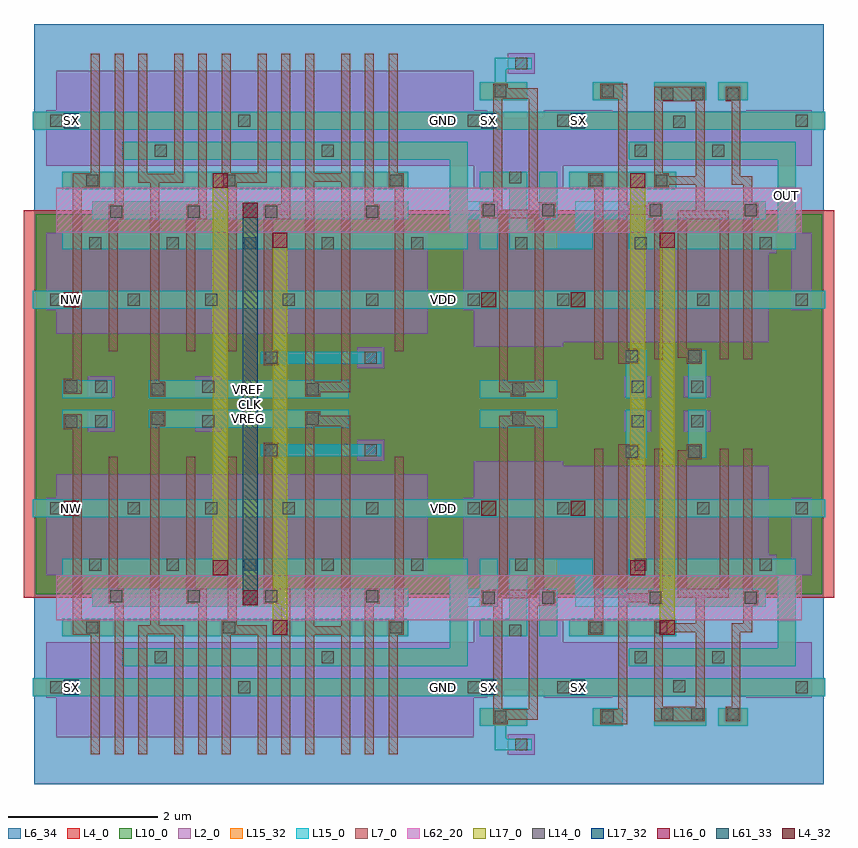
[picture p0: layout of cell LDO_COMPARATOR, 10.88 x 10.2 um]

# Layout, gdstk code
import gdstk
lib = gdstk.Library(unit=1e-6, precision=1e-09)
def R(c, l, rs):  # rectangles x0, y0, x1, y1
    for r in rs: c.add(gdstk.rectangle(r[:2], r[2:], *l))
def A(c, l, x, y, w, h, nx, ny, dx, dy):  # array of equal rectangles
    R(c, l, [(x+i*dx, y+j*dy, x+i*dx+w, y+j*dy+h) for i in range(nx) for j in range(ny)])
def P(c, l, *ps):  # polygons
    for p in ps: c.add(gdstk.Polygon(p, *l))
L2_0 = (2, 0)
L4_0 = (4, 0)
L4_32 = (4, 32)
L6_34 = (6, 34)
L7_0 = (7, 0)
L10_0 = (10, 0)
L14_0 = (14, 0)
L15_0 = (15, 0)
L15_32 = (15, 32)
L16_0 = (16, 0)
L17_0 = (17, 0)
L17_32 = (17, 32)
L61_33 = (61, 33)
L62_20 = (62, 20)

ldo_comparator = lib.new_cell('LDO_COMPARATOR')
R(ldo_comparator, L2_0, [(5.86,-0.11,6.22,0.17), (5.26,2.3,5.54,3.34), (9.66,2.3,9.94,3.34), (3.84,3.84,4.2,4.12), (0.22,4.23,0.58,4.51), (1.66,4.23,2.02,4.51), (7.42,4.23,7.78,4.51), (8.22,4.23,8.58,4.51), (0.22,4.69,0.58,4.97), (1.66,4.69,2.02,4.97), (7.42,4.69,7.78,4.97), (8.22,4.69,8.58,4.97), (3.84,5.08,4.2,5.36), (5.26,5.86,5.54,6.9), (9.66,5.86,9.94,6.9), (5.86,9.03,6.22,9.31)])
P(ldo_comparator, L2_0, [(9.46,6.62),(9.36,6.62),(9.36,5.43),(6.6,5.43),(6.6,5.86),(6.46,5.86),(6.46,6.9),(9.46,6.9)],
  [(9.94,7.8),(6.46,7.8),(6.46,8.54),(7.26,8.54),(7.26,8.53),(9.06,8.53),(9.06,8.54),(9.94,8.54)],
  [(9.46,2.58),(9.36,2.58),(9.36,3.77),(6.6,3.77),(6.6,3.34),(6.46,3.34),(6.46,2.3),(9.46,2.3)],
  [(9.94,1.4),(6.46,1.4),(6.46,0.66),(7.26,0.66),(7.26,0.67),(9.06,0.67),(9.06,0.66),(9.94,0.66)],
  [(4.78,5.54),(-0.2,5.54),(-0.2,5.86),(-0.34,5.86),(-0.34,6.9),(4.78,6.9)],
  [(5.54,7.8),(-0.34,7.8),(-0.34,8.54),(-0.2,8.54),(-0.2,9.07),(5.4,9.07),(5.4,8.54),(5.54,8.54)],
  [(4.78,3.66),(-0.2,3.66),(-0.2,3.34),(-0.34,3.34),(-0.34,2.3),(4.78,2.3)],
  [(5.54,1.4),(-0.34,1.4),(-0.34,0.66),(-0.2,0.66),(-0.2,0.13),(5.4,0.13),(5.4,0.66),(5.54,0.66)],
  [(6.74,5.86),(6.6,5.86),(6.6,5.37),(5.4,5.37),(5.4,5.86),(5.26,5.86),(5.26,6.9),(6.74,6.9)],
  [(6.74,7.8),(6.6,7.8),(6.6,7.5),(5.4,7.5),(5.4,7.8),(5.26,7.8),(5.26,8.54),(5.58,8.54),(5.58,8.44),(6.34,8.44),(6.34,8.54),(6.74,8.54)],
  [(6.74,3.34),(6.6,3.34),(6.6,3.83),(5.4,3.83),(5.4,3.34),(5.26,3.34),(5.26,2.3),(6.74,2.3)],
  [(6.74,1.4),(6.6,1.4),(6.6,1.7),(5.4,1.7),(5.4,1.4),(5.26,1.4),(5.26,0.66),(5.58,0.66),(5.58,0.76),(6.34,0.76),(6.34,0.66),(6.74,0.66)])
R(ldo_comparator, L4_0, [(-0.64,2,5.84,5.4), (4.96,2,7.04,5.4), (6.16,2,10.24,5.4), (-0.64,3.8,5.84,7.2), (4.96,3.8,7.04,7.2), (6.16,3.8,10.24,7.2)])
R(ldo_comparator, L4_32, [(-0.1,3.1,0.1,3.3), (-0.1,3.1,0.1,3.3), (5.5,3.1,5.7,3.3), (6.7,3.1,6.9,3.3), (-0.1,5.9,0.1,6.1), (-0.1,5.9,0.1,6.1), (5.5,5.9,5.7,6.1), (6.7,5.9,6.9,6.1)])
R(ldo_comparator, L6_34, [(-0.5,-0.5,5.7,4.9), (5.1,-0.5,6.9,4.9), (6.3,-0.5,10.1,4.9), (-0.5,4.3,5.7,9.7), (5.1,4.3,6.9,9.7), (6.3,4.3,10.1,9.7)])
P(ldo_comparator, L7_0, [(7.14,5.2),(7.02,5.2),(7.02,7.5),(6.94,7.5),(6.94,7.7),(7.14,7.7)],
  [(7.94,5.2),(7.82,5.2),(7.82,7.1),(7.74,7.1),(7.74,7.14),(7.46,7.14),(7.46,5.34),(7.62,5.34),(7.62,5.14),(7.34,5.14),(7.34,8.7),(7.1,8.7),(7.1,8.9),(7.46,8.9),(7.46,7.26),(7.74,7.26),(7.74,7.3),(7.94,7.3)],
  [(8.82,5.2),(8.7,5.2),(8.7,7.08),(8.26,7.08),(8.26,5.34),(8.46,5.34),(8.46,5.14),(8.26,5.14),(8.26,5.22),(8.14,5.22),(8.14,7.2),(8.38,7.2),(8.38,8.66),(7.94,8.66),(7.94,7.7),(8.02,7.7),(8.02,7.66),(8.38,7.66),(8.38,7.54),(8.02,7.54),(8.02,7.5),(7.82,7.5),(7.82,8.86),(8.5,8.86),(8.5,7.2),(8.82,7.2)],
  [(9.22,7.1),(9.14,7.1),(9.14,5.2),(9.02,5.2),(9.02,7.54),(8.86,7.54),(8.86,8.66),(8.78,8.66),(8.78,8.86),(8.98,8.86),(8.98,7.66),(9.14,7.66),(9.14,7.3),(9.22,7.3)],
  [(7.14,4),(7.02,4),(7.02,1.7),(6.94,1.7),(6.94,1.5),(7.14,1.5)],
  [(7.94,4),(7.82,4),(7.82,2.1),(7.74,2.1),(7.74,2.06),(7.46,2.06),(7.46,3.86),(7.62,3.86),(7.62,4.06),(7.34,4.06),(7.34,0.5),(7.1,0.5),(7.1,0.3),(7.46,0.3),(7.46,1.94),(7.74,1.94),(7.74,1.9),(7.94,1.9)],
  [(8.82,4),(8.7,4),(8.7,2.12),(8.26,2.12),(8.26,3.86),(8.46,3.86),(8.46,4.06),(8.26,4.06),(8.26,3.98),(8.14,3.98),(8.14,2),(8.38,2),(8.38,0.54),(7.94,0.54),(7.94,1.5),(8.02,1.5),(8.02,1.54),(8.38,1.54),(8.38,1.66),(8.02,1.66),(8.02,1.7),(7.82,1.7),(7.82,0.34),(8.5,0.34),(8.5,2),(8.82,2)],
  [(9.22,2.1),(9.14,2.1),(9.14,4),(9.02,4),(9.02,1.66),(8.86,1.66),(8.86,0.54),(8.78,0.54),(8.78,0.34),(8.98,0.34),(8.98,1.54),(9.14,1.54),(9.14,1.9),(9.22,1.9)],
  [(0.38,7.5),(0.14,7.5),(0.14,4.74),(-0.1,4.74),(-0.1,4.94),(0.02,4.94),(0.02,7.7),(0.26,7.7),(0.26,9.3),(0.38,9.3)],
  [(0.7,7.08),(0.62,7.08),(0.62,5.31),(0.5,5.31),(0.5,7.28),(0.58,7.28),(0.58,9.3),(0.7,9.3)],
  [(1.5,7.57),(1.18,7.57),(1.18,4.9),(1.26,4.9),(1.26,4.7),(1.06,4.7),(1.06,7.57),(0.9,7.57),(0.9,9.3),(1.02,9.3),(1.02,7.69),(1.38,7.69),(1.38,9.3),(1.5,9.3)],
  [(1.82,7.08),(1.66,7.08),(1.66,5.31),(1.54,5.31),(1.54,7.28),(1.7,7.28),(1.7,9.3),(1.82,9.3)],
  [(2.62,7.57),(2.22,7.57),(2.22,5.31),(2.1,5.31),(2.1,7.5),(2.02,7.5),(2.02,9.3),(2.14,9.3),(2.14,7.7),(2.5,7.7),(2.5,9.3),(2.62,9.3)],
  [(2.94,7.08),(2.7,7.08),(2.7,5.32),(2.78,5.32),(2.78,5.12),(2.58,5.12),(2.58,7.28),(2.82,7.28),(2.82,9.3),(2.94,9.3)],
  [(3.74,4.76),(3.62,4.76),(3.62,7.58),(3.26,7.58),(3.26,4.9),(3.62,4.9),(3.62,4.76),(3.34,4.76),(3.34,4.7),(3.14,4.7),(3.14,9.3),(3.26,9.3),(3.26,7.7),(3.62,7.7),(3.62,9.3),(3.74,9.3)],
  [(4.14,7.08),(3.94,7.08),(3.94,9.3),(4.06,9.3),(4.06,7.28),(4.14,7.28)],
  [(4.46,5.31),(4.34,5.31),(4.34,7.5),(4.26,7.5),(4.26,9.3),(4.38,9.3),(4.38,7.7),(4.46,7.7)],
  [(0.38,1.7),(0.14,1.7),(0.14,4.46),(-0.1,4.46),(-0.1,4.26),(0.02,4.26),(0.02,1.5),(0.26,1.5),(0.26,-0.1),(0.38,-0.1)],
  [(0.7,2.12),(0.62,2.12),(0.62,3.89),(0.5,3.89),(0.5,1.92),(0.58,1.92),(0.58,-0.1),(0.7,-0.1)],
  [(1.5,1.63),(1.18,1.63),(1.18,4.3),(1.26,4.3),(1.26,4.5),(1.06,4.5),(1.06,1.63),(0.9,1.63),(0.9,-0.1),(1.02,-0.1),(1.02,1.51),(1.38,1.51),(1.38,-0.1),(1.5,-0.1)],
  [(1.82,2.12),(1.66,2.12),(1.66,3.89),(1.54,3.89),(1.54,1.92),(1.7,1.92),(1.7,-0.1),(1.82,-0.1)],
  [(2.62,1.63),(2.22,1.63),(2.22,3.89),(2.1,3.89),(2.1,1.7),(2.02,1.7),(2.02,-0.1),(2.14,-0.1),(2.14,1.5),(2.5,1.5),(2.5,-0.1),(2.62,-0.1)],
  [(2.94,2.12),(2.7,2.12),(2.7,3.88),(2.78,3.88),(2.78,4.08),(2.58,4.08),(2.58,1.92),(2.82,1.92),(2.82,-0.1),(2.94,-0.1)],
  [(3.74,4.44),(3.62,4.44),(3.62,1.62),(3.26,1.62),(3.26,4.3),(3.62,4.3),(3.62,4.44),(3.34,4.44),(3.34,4.5),(3.14,4.5),(3.14,-0.1),(3.26,-0.1),(3.26,1.5),(3.62,1.5),(3.62,-0.1),(3.74,-0.1)],
  [(4.14,2.12),(3.94,2.12),(3.94,-0.1),(4.06,-0.1),(4.06,1.92),(4.14,1.92)],
  [(4.46,3.89),(4.34,3.89),(4.34,1.7),(4.26,1.7),(4.26,-0.1),(4.38,-0.1),(4.38,1.5),(4.46,1.5)],
  [(6.5,7.1),(6.4,7.1),(6.4,7.09),(6.34,7.09),(6.34,4.76),(6.22,4.76),(6.22,7.09),(6.14,7.09),(6.14,8.7),(5.78,8.7),(5.78,7.21),(6.14,7.21),(6.14,7.09),(5.86,7.09),(5.86,4.9),(6.22,4.9),(6.22,4.76),(6.1,4.76),(6.1,4.7),(5.9,4.7),(5.9,4.76),(5.74,4.76),(5.74,7.09),(5.6,7.09),(5.6,7.1),(5.5,7.1),(5.5,7.3),(5.66,7.3),(5.66,8.9),(5.86,8.9),(5.86,8.84),(6.26,8.84),(6.26,7.31),(6.34,7.31),(6.34,7.3),(6.5,7.3)],
  [(6.5,2.1),(6.4,2.1),(6.4,2.11),(6.34,2.11),(6.34,4.44),(6.22,4.44),(6.22,2.11),(6.14,2.11),(6.14,0.5),(5.78,0.5),(5.78,1.99),(6.14,1.99),(6.14,2.11),(5.86,2.11),(5.86,4.3),(6.22,4.3),(6.22,4.44),(6.1,4.44),(6.1,4.5),(5.9,4.5),(5.9,4.44),(5.74,4.44),(5.74,2.11),(5.6,2.11),(5.6,2.1),(5.5,2.1),(5.5,1.9),(5.66,1.9),(5.66,0.3),(5.86,0.3),(5.86,0.36),(6.26,0.36),(6.26,1.89),(6.34,1.89),(6.34,1.9),(6.5,1.9)])
R(ldo_comparator, L10_0, [(-0.48,2.05,5.68,4.66), (5.12,2.05,6.88,4.66), (6.32,2.05,10.08,4.66), (-0.48,4.54,5.68,7.15), (5.12,4.54,6.88,7.15), (6.32,4.54,10.08,7.15)])
A(ldo_comparator, L14_0, 0.52, 1.94, 0.16, 0.16, 3, 2, 1.04, 5.16)
A(ldo_comparator, L14_0, 0.24, 2.36, 0.16, 0.16, 4, 2, 1.04, 4.32)
A(ldo_comparator, L14_0, -0.28, 3.12, 0.16, 0.16, 4, 2, 1.04, 2.8)
R(ldo_comparator, L14_0, [(5.96,-0.05,6.12,0.11), (5.68,0.32,5.84,0.48), (7.12,0.32,7.28,0.48), (7.92,0.36,8.08,0.52), (8.32,0.36,8.48,0.52), (8.8,0.36,8.96,0.52), (-0.28,0.72,-0.12,0.88), (2.24,0.72,2.4,0.88), (5.32,0.72,5.48,0.88), (5.32,0.72,5.48,0.88), (6.52,0.72,6.68,0.88), (6.52,0.72,6.68,0.88), (9.72,0.72,9.88,0.88), (8.08,0.73,8.24,0.89), (1.12,1.12,1.28,1.28), (3.36,1.12,3.52,1.28), (7.56,1.12,7.72,1.28), (8.6,1.12,8.76,1.28), (5.88,1.48,6.04,1.64), (0.2,1.52,0.36,1.68), (2.04,1.52,2.2,1.68), (4.28,1.52,4.44,1.68), (6.96,1.52,7.12,1.68), (7.84,1.52,8,1.68), (5.52,1.92,5.68,2.08), (6.32,1.92,6.48,2.08), (7.76,1.92,7.92,2.08), (9.04,1.92,9.2,2.08), (3.96,1.94,4.12,2.1), (4.56,2.36,4.72,2.52), (5.96,2.36,6.12,2.52), (7.56,2.36,7.72,2.52), (9.24,2.36,9.4,2.52), (3.96,3.12,4.12,3.28), (5.32,3.12,5.48,3.28), (5.32,3.12,5.48,3.28), (6.52,3.12,6.68,3.28), (6.52,3.12,6.68,3.28), (8.4,3.12,8.56,3.28), (9.72,3.12,9.88,3.28), (7.44,3.88,7.6,4.04), (8.28,3.88,8.44,4.04), (2.6,3.9,2.76,4.06), (3.94,3.9,4.1,4.06), (-0.08,4.28,0.08,4.44), (0.32,4.29,0.48,4.45), (1.76,4.29,1.92,4.45), (7.52,4.29,7.68,4.45), (8.32,4.29,8.48,4.45), (1.08,4.32,1.24,4.48), (3.16,4.32,3.32,4.48), (5.92,4.32,6.08,4.48), (1.08,4.72,1.24,4.88), (3.16,4.72,3.32,4.88), (5.92,4.72,6.08,4.88), (0.32,4.75,0.48,4.91), (1.76,4.75,1.92,4.91), (7.52,4.75,7.68,4.91), (8.32,4.75,8.48,4.91), (-0.08,4.76,0.08,4.92), (2.6,5.14,2.76,5.3), (3.94,5.14,4.1,5.3), (7.44,5.16,7.6,5.32), (8.28,5.16,8.44,5.32), (3.96,5.92,4.12,6.08), (5.32,5.92,5.48,6.08), (5.32,5.92,5.48,6.08), (6.52,5.92,6.68,6.08), (6.52,5.92,6.68,6.08), (8.4,5.92,8.56,6.08), (9.72,5.92,9.88,6.08), (4.56,6.68,4.72,6.84), (5.96,6.68,6.12,6.84), (7.56,6.68,7.72,6.84), (9.24,6.68,9.4,6.84), (3.96,7.1,4.12,7.26), (5.52,7.12,5.68,7.28), (6.32,7.12,6.48,7.28), (7.76,7.12,7.92,7.28), (9.04,7.12,9.2,7.28), (0.2,7.52,0.36,7.68), (2.04,7.52,2.2,7.68), (4.28,7.52,4.44,7.68), (6.96,7.52,7.12,7.68), (7.84,7.52,8,7.68), (5.88,7.56,6.04,7.72), (1.12,7.92,1.28,8.08), (3.36,7.92,3.52,8.08), (7.56,7.92,7.72,8.08), (8.6,7.92,8.76,8.08), (8.08,8.31,8.24,8.47), (-0.28,8.32,-0.12,8.48), (2.24,8.32,2.4,8.48), (5.32,8.32,5.48,8.48), (5.32,8.32,5.48,8.48), (6.52,8.32,6.68,8.48), (6.52,8.32,6.68,8.48), (9.72,8.32,9.88,8.48), (7.92,8.68,8.08,8.84), (8.32,8.68,8.48,8.84), (8.8,8.68,8.96,8.84), (5.68,8.72,5.84,8.88), (7.12,8.72,7.28,8.88), (5.96,9.09,6.12,9.25)])
R(ldo_comparator, L15_0, [(7,0.28,7.4,0.52), (7.82,0.28,8.52,0.52), (8.68,0.28,9.08,0.52), (-0.52,0.68,5.72,0.92), (5.08,0.68,6.92,0.92), (6.28,0.68,10.12,0.92), (-0.12,1.48,4.52,1.72), (2.68,1.48,2.92,1.72), (6.28,1.48,6.52,2.12), (6.68,1.48,8.12,1.72), (7.88,1.48,8.12,1.72), (0.28,1.88,4.52,2.12), (2.28,1.88,2.52,2.12), (5.08,1.88,5.72,2.12), (5.48,1.88,5.72,2.52), (7.48,1.88,9.32,2.12), (1.88,2.28,2.12,2.52), (7.48,2.28,7.72,2.52), (-0.52,3.08,5.72,3.32), (5.08,3.08,6.92,3.32), (6.28,3.08,10.12,3.32), (7.44,3.88,7.72,4.52), (8.28,3.88,8.52,4.52), (2.54,3.9,4.16,4.06), (-0.12,4.28,0.54,4.52), (1.04,4.28,3.72,4.52), (5.48,4.28,6.52,4.52), (-0.12,4.68,0.54,4.92), (1.04,4.68,3.72,4.92), (5.48,4.68,6.52,4.92), (7.44,4.68,7.72,5.32), (8.28,4.68,8.52,5.32), (2.54,5.14,4.16,5.3), (-0.52,5.88,5.72,6.12), (5.08,5.88,6.92,6.12), (6.28,5.88,10.12,6.12), (2.68,6.68,2.92,6.92), (5.48,6.68,5.72,7.32), (0.28,7.08,4.52,7.32), (2.28,7.08,2.52,7.32), (5.08,7.08,5.72,7.32), (6.28,7.08,6.52,7.72), (7.48,7.08,9.32,7.32), (-0.12,7.48,4.52,7.72), (1.88,7.48,2.12,7.72), (6.68,7.48,8.12,7.72), (7.48,7.48,7.72,7.72), (-0.52,8.28,5.72,8.52), (5.08,8.28,6.92,8.52), (6.28,8.28,10.12,8.52), (7,8.68,7.4,8.92), (7.82,8.68,8.52,8.92), (8.68,8.68,9.08,8.92)])
P(ldo_comparator, L15_0, [(9.72,6.68),(7.48,6.68),(7.48,6.92),(9.48,6.92),(9.48,7.88),(7.48,7.88),(7.48,8.12),(9.72,8.12)],
  [(9.72,2.52),(7.48,2.52),(7.48,2.28),(9.48,2.28),(9.48,1.32),(7.48,1.32),(7.48,1.08),(9.72,1.08)],
  [(5.32,6.68),(-0.12,6.68),(-0.12,6.92),(5.08,6.92),(5.08,7.88),(0.68,7.88),(0.68,8.12),(5.32,8.12)],
  [(5.32,2.52),(-0.12,2.52),(-0.12,2.28),(5.08,2.28),(5.08,1.32),(0.68,1.32),(0.68,1.08),(5.32,1.08)],
  [(6.18,9.09),(5.84,9.09),(5.84,8.92),(6.12,8.92),(6.12,8.68),(5.48,8.68),(5.48,8.92),(5.68,8.92),(5.68,9.25),(6.18,9.25)],
  [(6.52,6.68),(5.88,6.68),(5.88,7.48),(5.48,7.48),(5.48,7.72),(6.12,7.72),(6.12,6.92),(6.52,6.92)],
  [(6.18,0.11),(5.84,0.11),(5.84,0.28),(6.12,0.28),(6.12,0.52),(5.48,0.52),(5.48,0.28),(5.68,0.28),(5.68,-0.05),(6.18,-0.05)],
  [(6.52,2.52),(5.88,2.52),(5.88,1.72),(5.48,1.72),(5.48,1.48),(6.12,1.48),(6.12,2.28),(6.52,2.28)])
R(ldo_comparator, L15_32, [(5.48,0.28,6.12,0.52), (7,0.28,7.4,0.52), (7.82,0.28,8.52,0.52), (8.68,0.28,9.08,0.52), (-0.52,0.68,5.72,0.92), (-0.52,0.68,10.12,0.92), (5.08,0.68,6.92,0.92), (6.28,0.68,10.12,0.92), (0.68,1.08,5.32,1.32), (7.48,1.08,9.72,1.32), (5.08,1.32,5.32,2.28), (9.48,1.32,9.72,2.28), (-0.12,1.48,4.52,1.72), (5.48,1.48,6.12,1.72), (6.28,1.48,6.52,2.12), (6.68,1.48,8.12,1.72), (5.88,1.72,6.12,2.28), (0.28,1.88,4.52,2.12), (5.48,1.88,5.72,2.52), (7.48,1.88,9.32,2.12), (-0.12,2.28,5.32,2.52), (5.88,2.28,6.52,2.52), (7.48,2.28,9.72,2.52), (-0.52,3.08,5.72,3.32), (-0.52,3.08,10.12,3.32), (5.08,3.08,6.92,3.32), (6.28,3.08,10.12,3.32), (7.44,3.88,7.72,4.52), (8.28,3.88,8.52,4.52), (-0.12,4.28,0.54,4.52), (1.04,4.28,3.72,4.52), (5.48,4.28,6.52,4.52), (-0.12,4.68,0.54,4.92), (1.04,4.68,3.72,4.92), (5.48,4.68,6.52,4.92), (7.44,4.68,7.72,5.32), (8.28,4.68,8.52,5.32), (-0.52,5.88,5.72,6.12), (-0.52,5.88,10.12,6.12), (5.08,5.88,6.92,6.12), (6.28,5.88,10.12,6.12), (-0.12,6.68,5.32,6.92), (5.48,6.68,5.72,7.32), (5.88,6.68,6.52,6.92), (7.48,6.68,9.72,6.92), (5.08,6.92,5.32,7.88), (5.88,6.92,6.12,7.48), (9.48,6.92,9.72,7.88), (0.28,7.08,4.52,7.32), (6.28,7.08,6.52,7.72), (7.48,7.08,9.32,7.32), (-0.12,7.48,4.52,7.72), (5.48,7.48,6.12,7.72), (6.68,7.48,8.12,7.72), (0.68,7.88,5.32,8.12), (7.48,7.88,9.72,8.12), (-0.52,8.28,5.72,8.52), (-0.52,8.28,10.12,8.52), (5.08,8.28,6.92,8.52), (6.28,8.28,10.12,8.52), (5.48,8.68,6.12,8.92), (7,8.68,7.4,8.92), (7.82,8.68,8.52,8.92), (8.68,8.68,9.08,8.92)])
R(ldo_comparator, L16_0, [(2.7,1.5,2.9,1.7), (7.9,1.5,8.1,1.7), (2.3,1.9,2.5,2.1), (1.9,2.3,2.1,2.5), (7.5,2.3,7.7,2.5), (2.7,6.7,2.9,6.9), (7.9,6.7,8.1,6.9), (2.3,7.1,2.5,7.3), (1.9,7.5,2.1,7.7), (7.5,7.5,7.7,7.7)])
R(ldo_comparator, L17_0, [(2.7,1.5,2.9,1.7), (7.9,1.5,8.1,1.7), (2.3,1.9,2.5,2.1), (1.9,2.3,2.1,2.5), (7.5,2.3,7.7,2.5), (2.7,6.7,2.9,6.9), (7.9,6.7,8.1,6.9), (2.3,7.1,2.5,7.3), (1.9,7.5,2.1,7.7), (7.5,7.5,7.7,7.7)])
R(ldo_comparator, L17_32, [(2.3,1.9,2.5,7.3)])
R(ldo_comparator, L61_33, [(-0.1,0.7,0.1,0.9), (-0.1,0.7,0.1,0.9), (5.5,0.7,5.7,0.9), (6.7,0.7,6.9,0.9), (-0.1,8.3,0.1,8.5), (-0.1,8.3,0.1,8.5), (5.5,8.3,5.7,8.5), (6.7,8.3,6.9,8.5)])
R(ldo_comparator, L62_20, [(-0.2,1.7,5.4,2.3), (5.4,1.7,6.6,2.3), (6.6,1.7,9.8,2.3), (-0.2,6.9,5.4,7.5), (5.4,6.9,6.6,7.5), (6.6,6.9,9.8,7.5)])
ldo_comparator.add(gdstk.FlexPath([(6.88,6.8),(6.88,7.2)], 0.24, ends="extended", simple_path=True, layer=15, datatype=0))  # L15_0
ldo_comparator.add(gdstk.FlexPath([(6.88,7.2),(7.88,7.2)], 0.24, ends=(0.12, 0), simple_path=True, layer=15, datatype=0))  # L15_0
ldo_comparator.add(gdstk.FlexPath([(6.52,6.8),(6.88,6.8)], 0.24, ends=(0, 0.12), simple_path=True, layer=15, datatype=0))  # L15_0
ldo_comparator.add(gdstk.FlexPath([(6.52,2.4),(6.88,2.4)], 0.24, ends=(0, 0.12), simple_path=True, layer=15, datatype=0))  # L15_0
ldo_comparator.add(gdstk.FlexPath([(6.88,2.4),(6.88,2)], 0.24, ends="extended", simple_path=True, layer=15, datatype=0))  # L15_0
ldo_comparator.add(gdstk.FlexPath([(6.88,2),(7.88,2)], 0.24, ends=(0.12, 0), simple_path=True, layer=15, datatype=0))  # L15_0
ldo_comparator.add(gdstk.FlexPath([(8,1.5),(8,6.9)], 0.2, ends="flush", simple_path=True, layer=17, datatype=0))  # L17_0
ldo_comparator.add(gdstk.FlexPath([(2.4,1.9),(2.4,7.3)], 0.2, ends="flush", simple_path=True, layer=17, datatype=0))  # L17_0
ldo_comparator.add(gdstk.FlexPath([(7.6,2.3),(7.6,7.7)], 0.2, ends="flush", simple_path=True, layer=17, datatype=0))  # L17_0
ldo_comparator.add(gdstk.FlexPath([(2.8,1.5),(2.8,6.9)], 0.2, ends="flush", simple_path=True, layer=17, datatype=0))  # L17_0
ldo_comparator.add(gdstk.FlexPath([(2,2.3),(2,7.7)], 0.2, ends="flush", simple_path=True, layer=17, datatype=0))  # L17_0
ldo_comparator.add(gdstk.Label('OUT', (9.6,7.4), layer=15, texttype=20))
ldo_comparator.add(gdstk.Label('VREG', (2.38,4.4), layer=15, texttype=20))
ldo_comparator.add(gdstk.Label('VREF', (2.38,4.8), layer=15, texttype=20))
ldo_comparator.add(gdstk.Label('GND', (5,0.8), layer=15, texttype=20))
ldo_comparator.add(gdstk.Label('VDD', (5,3.2), layer=15, texttype=20))
ldo_comparator.add(gdstk.Label('VDD', (5,6), layer=15, texttype=20))
ldo_comparator.add(gdstk.Label('GND', (5,8.4), layer=15, texttype=20))
ldo_comparator.add(gdstk.Label('SX', (6.8,8.4), layer=61, texttype=31))
ldo_comparator.add(gdstk.Label('SX', (6.8,0.8), layer=61, texttype=31))
ldo_comparator.add(gdstk.Label('SX', (0,8.4), layer=61, texttype=31))
ldo_comparator.add(gdstk.Label('SX', (0,0.8), layer=61, texttype=31))
ldo_comparator.add(gdstk.Label('SX', (5.6,8.4), layer=61, texttype=31))
ldo_comparator.add(gdstk.Label('SX', (5.6,0.8), layer=61, texttype=31))
ldo_comparator.add(gdstk.Label('SX', (0,8.4), layer=61, texttype=31))
ldo_comparator.add(gdstk.Label('SX', (0,0.8), layer=61, texttype=31))
ldo_comparator.add(gdstk.Label('NW', (0,6), layer=4, texttype=20))
ldo_comparator.add(gdstk.Label('NW', (0,3.2), layer=4, texttype=20))
ldo_comparator.add(gdstk.Label('NW', (0,3.2), layer=4, texttype=20))
ldo_comparator.add(gdstk.Label('NW', (0,6), layer=4, texttype=20))
ldo_comparator.add(gdstk.Label('CLK', (2.4,4.6), layer=17, texttype=20))

lib.write_gds('LDO_COMPARATOR.gds')
